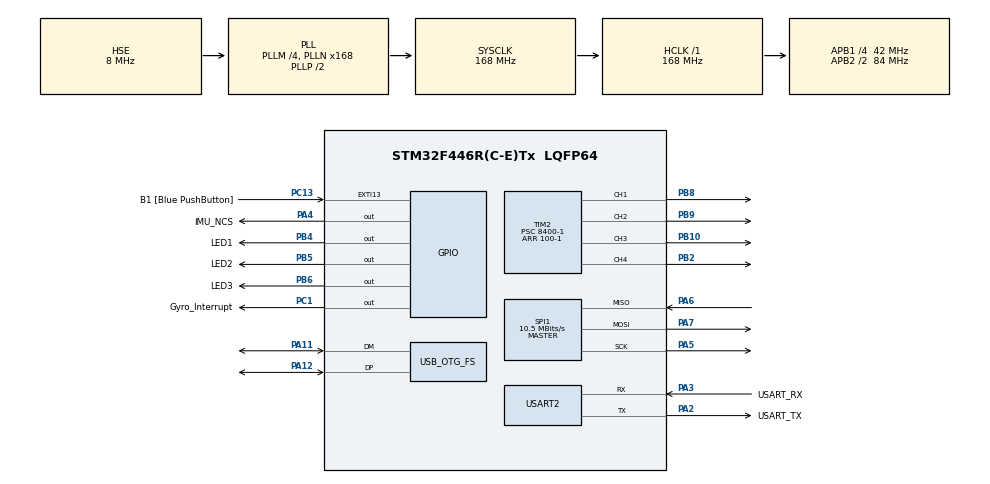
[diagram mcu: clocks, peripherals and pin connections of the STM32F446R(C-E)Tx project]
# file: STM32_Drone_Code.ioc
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Mcu.Family=STM32F4
Mcu.Name=STM32F446R(C-E)Tx
Mcu.Package=LQFP64
NVIC.OTG_FS_IRQn=true\:0\:0\:false\:false\:true\:false\:true\:true
NVIC.PriorityGroup=NVIC_PRIORITYGROUP_0
PA11.Mode=Device_Only
PA11.Signal=USB_OTG_FS_DM
PA12.Mode=Device_Only
PA12.Signal=USB_OTG_FS_DP
PA13.GPIO_Label=TMS
PA13.Mode=Trace_Asynchronous_SW
PA13.Signal=SYS_JTMS-SWDIO
PA14.GPIO_Label=TCK
PA14.Mode=Trace_Asynchronous_SW
PA14.Signal=SYS_JTCK-SWCLK
PA2.GPIO_Label=USART_TX
PA2.Mode=Asynchronous
PA2.Signal=USART2_TX
PA3.GPIO_Label=USART_RX
PA3.Mode=Asynchronous
PA3.Signal=USART2_RX
PA4.GPIO_Label=IMU_NCS
PA4.Signal=GPIO_Output
PA5.Mode=Full_Duplex_Master
PA5.Signal=SPI1_SCK
PA6.Mode=Full_Duplex_Master
PA6.Signal=SPI1_MISO
PA7.Mode=Full_Duplex_Master
PA7.Signal=SPI1_MOSI
PB10.Signal=S_TIM2_CH3
PB2.Signal=S_TIM2_CH4
PB3.Mode=Trace_Asynchronous_SW
PB3.Signal=SYS_JTDO-SWO
PB4.GPIO_Label=LED1
PB4.Signal=GPIO_Output
PB5.GPIO_Label=LED2
PB5.Signal=GPIO_Output
PB6.GPIO_Label=LED3
PB6.Signal=GPIO_Output
PB8.Signal=S_TIM2_CH1_ETR
PB9.Signal=S_TIM2_CH2
PC1.GPIO_Label=Gyro_Interrupt
PC1.Signal=GPIO_Output
PC13.GPIO_Label=B1 [Blue PushButton]
PC13.GPIO_ModeDefaultEXTI=GPIO_MODE_IT_FALLING
PC13.Signal=GPXTI13
PH0-OSC_IN.Mode=HSE-External-Oscillator
PH0-OSC_IN.Signal=RCC_OSC_IN
PH1-OSC_OUT.Mode=HSE-External-Oscillator
PH1-OSC_OUT.Signal=RCC_OSC_OUT
ProjectManager.HeapSize=0x200
ProjectManager.StackSize=0x400
ProjectManager.TargetToolchain=STM32CubeIDE
RCC.48MHZClocksFreq_Value=84000000
RCC.AHBFreq_Value=168000000
RCC.APB1CLKDivider=RCC_HCLK_DIV4
RCC.APB1Freq_Value=42000000
RCC.APB1TimFreq_Value=84000000
RCC.APB2CLKDivider=RCC_HCLK_DIV2
RCC.APB2Freq_Value=84000000
RCC.APB2TimFreq_Value=168000000
RCC.CortexFreq_Value=168000000
RCC.FLatency-AdvancedSettings=FLASH_LATENCY_5
RCC.HCLKFreq_Value=168000000
RCC.HSE_VALUE=8000000
RCC.HSI_VALUE=16000000
RCC.PLLM=4
RCC.PLLN=168
RCC.PLLQ=7
RCC.SYSCLKFreq_VALUE=168000000
RCC.SYSCLKSource=RCC_SYSCLKSOURCE_PLLCLK
RCC.USBFreq_Value=48000000
RCC.VCOOutputFreq_Value=336000000
SH.S_TIM2_CH1_ETR.0=TIM2_CH1,PWM Generation1 CH1
SH.S_TIM2_CH2.0=TIM2_CH2,PWM Generation2 CH2
SH.S_TIM2_CH3.0=TIM2_CH3,PWM Generation3 CH3
SH.S_TIM2_CH4.0=TIM2_CH4,PWM Generation4 CH4
SPI1.BaudRatePrescaler=SPI_BAUDRATEPRESCALER_8
SPI1.CalculateBaudRate=10.5 MBits/s
SPI1.Direction=SPI_DIRECTION_2LINES
SPI1.Mode=SPI_MODE_MASTER
SPI1.VirtualType=VM_MASTER
TIM2.Channel-PWM\ Generation1\ CH1=TIM_CHANNEL_1
TIM2.Channel-PWM\ Generation2\ CH2=TIM_CHANNEL_2
TIM2.Channel-PWM\ Generation3\ CH3=TIM_CHANNEL_3
TIM2.Channel-PWM\ Generation4\ CH4=TIM_CHANNEL_4
TIM2.Period=100-1
TIM2.Prescaler=8400-1
USART2.VirtualMode=VM_ASYNC
USB_DEVICE.CLASS_NAME_FS=CDC
USB_DEVICE.VirtualMode-CDC_FS=Cdc
USB_DEVICE.VirtualModeFS=Cdc_FS
USB_OTG_FS.VirtualMode=Device_Only
VP_TIM2_VS_ClockSourceINT.Mode=Internal
VP_USB_DEVICE_VS_USB_DEVICE_CDC_FS.Mode=CDC_FS
board=NUCLEO-F446RE

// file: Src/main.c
/* USER CODE BEGIN Header */
/**
  ******************************************************************************
  * @file           : main.c
  * @brief          : Main program body
  ******************************************************************************
  * @attention
  *
  * Copyright (c) 2022 STMicroelectronics.
  * All rights reserved.
  *
  * This software is licensed under terms that can be found in the LICENSE file
  * in the root directory of this software component.
  * If no LICENSE file comes with this software, it is provided AS-IS.
  *
  ******************************************************************************
  */
/* USER CODE END Header */
#include "main.h"
#include "spi.h"
#include "tim.h"
#include "usart.h"
#include "usb_device.h"
#include "gpio.h"
#include "imu.h"
#include "esc.h"
#include "pid.h"

/* USER CODE BEGIN PD */

// 100 / 180 (to scale down to 100%) * 10 (to get in ms)
#define ANGLE_SCALE_FACTOR 5.55555555f

/* USER CODE END PD */

/* USER CODE BEGIN PV */

// PWM signal for speed, between 1ms - 2ms
// speed in us
uint16_t speed = 1200;

uint16_t *IMUread;
int32_t *eulerAngles;
int32_t phiDeg;
int32_t thetaDeg;

double phiHat_deg;
double thetaHat_deg;

/* USER CODE END PV */

void SystemClock_Config(void);

int main(void)
{

  /* MCU Configuration--------------------------------------------------------*/

  /* Reset of all peripherals, Initializes the Flash interface and the Systick. */
  HAL_Init();

  /* Configure the system clock */
  SystemClock_Config();

  /* Initialize all configured peripherals */
  MX_GPIO_Init();
  MX_USART2_UART_Init();
  MX_SPI1_Init();
  MX_TIM2_Init();
  MX_USB_DEVICE_Init();

  /* USER CODE BEGIN 2 */

  IAM_Init(&hspi1);
  tim2Init(&htim2);

  Phi_pid_init();
  Theta_pid_init();

  // set the starting speed
  setThrottle(&htim2, speed);

  /* USER CODE END 2 */

  /* Infinite loop */
  /* USER CODE BEGIN WHILE */
  while (1)
  {

	  // read the current gyro and accel measurements
	  IMUread = IAM_readAccelGyro(&hspi1);

	  // converts the body angles to euler angles
	  complemetaryFilter(*IMUread, *(IMUread+1));

	  // PID calculates adjusted euler angles to level the drone
	  phiDeg = Phi_pid_run();
	  thetaDeg = Theta_pid_run();

	  // adjusts the value of each motor according to the PID outputs
	  uint16_t esc1 = speed - (phiDeg * ANGLE_SCALE_FACTOR) + (thetaDeg * ANGLE_SCALE_FACTOR);
	  uint16_t esc2 = speed + (phiDeg * ANGLE_SCALE_FACTOR) - (thetaDeg * ANGLE_SCALE_FACTOR);
	  uint16_t esc3 = speed + (phiDeg * ANGLE_SCALE_FACTOR) + (thetaDeg * ANGLE_SCALE_FACTOR);
	  uint16_t esc4 = speed - (phiDeg * ANGLE_SCALE_FACTOR) - (thetaDeg * ANGLE_SCALE_FACTOR);

	  // sets the new speeds for the motors
	  setSpeeds(&htim2, esc1, esc2, esc3, esc4);

	  /* USER CODE END WHILE */

  }
}

void SystemClock_Config(void)
{
  RCC_OscInitTypeDef RCC_OscInitStruct = {0};
  RCC_ClkInitTypeDef RCC_ClkInitStruct = {0};

  /** Configure the main internal regulator output voltage
  */
  __HAL_RCC_PWR_CLK_ENABLE();
  __HAL_PWR_VOLTAGESCALING_CONFIG(PWR_REGULATOR_VOLTAGE_SCALE1);

  /** Initializes the RCC Oscillators according to the specified parameters
  * in the RCC_OscInitTypeDef structure.
  */
  RCC_OscInitStruct.OscillatorType = RCC_OSCILLATORTYPE_HSE;
  RCC_OscInitStruct.HSEState = RCC_HSE_ON;
  RCC_OscInitStruct.PLL.PLLState = RCC_PLL_ON;
  RCC_OscInitStruct.PLL.PLLSource = RCC_PLLSOURCE_HSE;
  RCC_OscInitStruct.PLL.PLLM = 4;
  RCC_OscInitStruct.PLL.PLLN = 168;
  RCC_OscInitStruct.PLL.PLLP = RCC_PLLP_DIV2;
  RCC_OscInitStruct.PLL.PLLQ = 7;
  RCC_OscInitStruct.PLL.PLLR = 2;
  if (HAL_RCC_OscConfig(&RCC_OscInitStruct) != HAL_OK)
  {
    Error_Handler();
  }

  /** Initializes the CPU, AHB and APB buses clocks
  */
  RCC_ClkInitStruct.ClockType = RCC_CLOCKTYPE_HCLK|RCC_CLOCKTYPE_SYSCLK
                              |RCC_CLOCKTYPE_PCLK1|RCC_CLOCKTYPE_PCLK2;
  RCC_ClkInitStruct.SYSCLKSource = RCC_SYSCLKSOURCE_PLLCLK;
  RCC_ClkInitStruct.AHBCLKDivider = RCC_SYSCLK_DIV1;
  RCC_ClkInitStruct.APB1CLKDivider = RCC_HCLK_DIV4;
  RCC_ClkInitStruct.APB2CLKDivider = RCC_HCLK_DIV2;

  if (HAL_RCC_ClockConfig(&RCC_ClkInitStruct, FLASH_LATENCY_5) != HAL_OK)
  {
    Error_Handler();
  }
}

void Error_Handler(void)
{
  __disable_irq();
  while (1)
  {
  }
}
